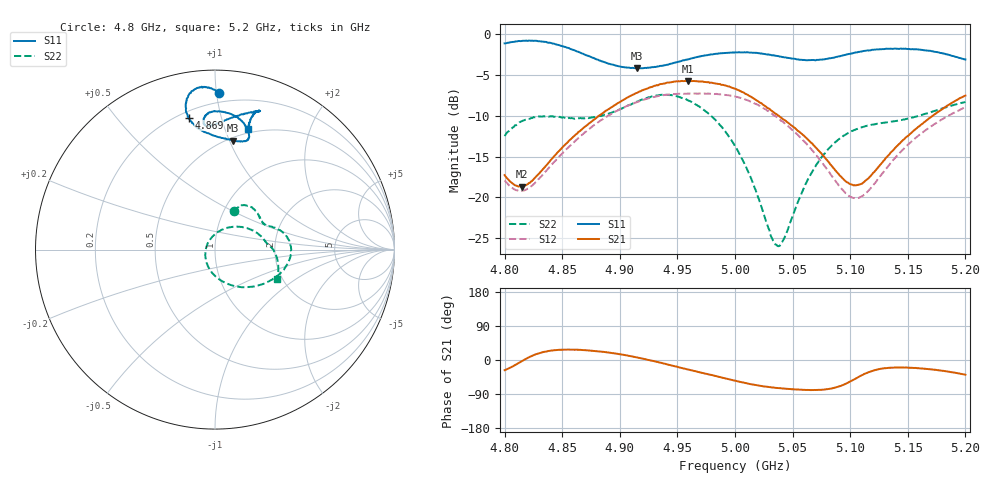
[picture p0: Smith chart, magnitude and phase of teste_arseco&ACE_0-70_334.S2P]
! Network Analyzer HP8722D
! Hewlett-Packard
! Data name: Linha & Wilkinson
! Saver's name: Rodrigo Anjos
! Comments: Teste da utilização de aquisição
! continua pelo VNA HP8722D
! Time and date: 8/5/2025 15:32
!  Frequency  S11  S21  S12  S22
# HZ  S  MA R 50
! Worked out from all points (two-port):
!   401 points, 4.8 GHz to 5.2 GHz, reference 50 ohm
!   highest |S21| = -5.75 dB at 4.959 GHz (marker M1); lowest = -18.7 dB at 4.815 GHz (marker M2)
!   |S21| within 3 dB of the highest: 4.895 GHz to 5.025 GHz (130.2 MHz wide, 2.63 % of centre); 5.184559 GHz to end of sweep
!   lowest |S11| = -4.2 dB at 4.915 GHz (marker M3), VSWR 4.20, Z = 26.3 + j51.5 ohm
!   |S11| at or under -10 dB: nowhere
!   |S22| runs from -26.0 to -7.4 dB; largest |S21 - S12| = 0.89
!   S11 on the Smith chart (normalised r, x): 4.8 GHz: 0.14, +1.02; 4.869 GHz: 0.24, +0.79; 5.2 GHz: 0.46, +1.20
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4.8e9  0.8747 88.5  0.1369 -27.0  0.127 100.5  0.2371 64.1
4.815e9  0.905 92.9  0.1164 -2.8  0.1094 121.5  0.2925 57.7
4.844e9  0.8642 100.0  0.1817 26.0  0.1671 149.8  0.3116 40.3
4.867e9  0.7593 101.6  0.2606 26.3  0.2403 153.5  0.3043 30.4
4.869e9  0.7495 101.3  0.268 26.1  0.2476 153.4  0.3042 29.6
4.894e9  0.6484 93.1  0.36 18.1  0.3284 148.3  0.3324 22.9
4.915e9  0.6153 80.7  0.4358 6.6  0.3829 139.9  0.3841 15.2
4.934e9  0.6332 73.6  0.4893 -6.3  0.4183 129.4  0.4219 3.1
4.959e9  0.698 75.2  0.5158 -24.9  0.4317 113.7  0.3923 -17.9
4.982e9  0.7534 81.5  0.4987 -41.5  0.4283 98.9  0.3023 -42.4
5e9  0.7698 87.4  0.462 -54.7  0.4145 86.3  0.206 -69.0
5.019e9  0.7651 92.5  0.3908 -66.7  0.3703 73.4  0.1051 -109.9
5.032e9  0.7391 94.5  0.3379 -72.4  0.3249 66.1  0.05661 -161.6
5.037e9  0.7328 94.9  0.3187 -74.0  0.3064 64.1  0.05043 165.7
5.043e9  0.7178 95.0  0.2968 -75.7  0.2845 61.7  0.05687 128.1
5.067e9  0.6914 92.7  0.2137 -79.2  0.1944 57.9  0.1432 58.8
5.084e9  0.7114 87.3  0.1559 -75.0  0.1353 63.6  0.2077 36.0
5.103e9  0.7643 79.4  0.1184 -51.9  0.09914 90.3  0.2573 19.7
5.114e9  0.7899 75.5  0.128 -34.7  0.1066 109.9  0.2732 13.6
5.134e9  0.8102 72.3  0.1832 -20.5  0.1582 125.9  0.2896 7.4
5.17e9  0.7866 74.0  0.3093 -24.6  0.2716 120.5  0.3326 -2.3
5.2e9  0.6967 74.7  0.419 -39.0  0.356 109.0  0.3833 -25.5
